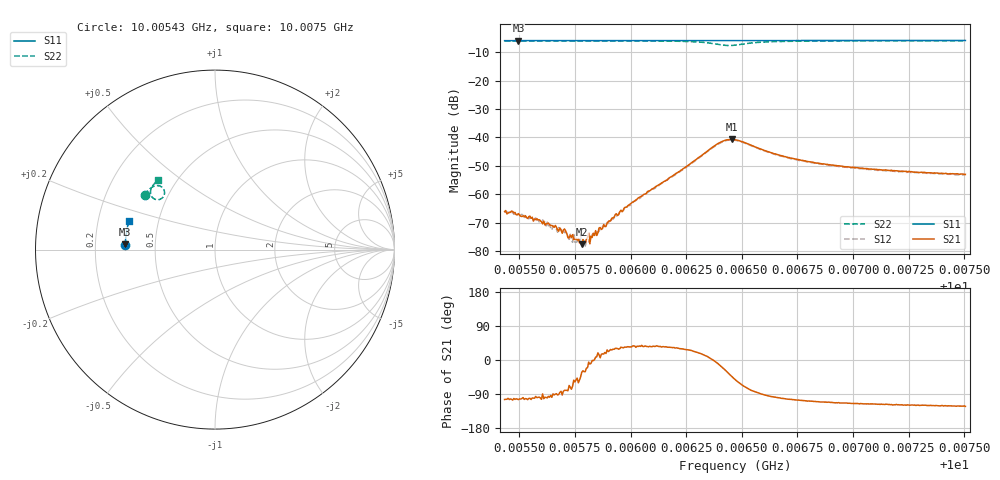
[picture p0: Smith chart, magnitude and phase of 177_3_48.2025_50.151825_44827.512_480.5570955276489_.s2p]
#  HZ  S  RI  R  50.00
! Rohde & Schwarz Vector Network Analyzer
! Rohde-Schwarz,ZNB20-2Port,1311601062101988,3.16
! Created: UTC 3/20/2024, 11:43:59 AM
! freq[Hz]  re:S11  im:S11  re:S21  im:S21  re:S12  im:S12  re:S22  im:S22
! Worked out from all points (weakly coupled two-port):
!   401 points, 10.00543 GHz to 10.0075 GHz, reference 50 ohm
!   highest |S21| = -40.66 dB at 10.00645 GHz (marker M1); lowest = -77.5 dB at 10.00578 GHz (marker M2)
!   lowest |S11| = -6.0 dB at 10.0055 GHz (marker M3), VSWR 3.00, Z = 16.7 + j1.33 ohm
!   |S11| at or under -10 dB: nowhere
!   |S22| runs from -7.7 to -6.0 dB; largest |S21 - S12| = 0.00055
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1.0005434e10  -0.4998 0.0258  -0.000123 -0.000487  -9.39e-05 -0.00048  -0.3927 0.3035
1.000547e10  -0.4997 0.0282  -0.000135 -0.000485  -0.000107 -0.000476  -0.3911 0.3058
1.0005496e10  -0.4995 0.0299  -0.000115 -0.000447  -8.15e-05 -0.000449  -0.39 0.3072
1.0005584e10  -0.4996 0.0356  -5.38e-05 -0.000353  -1.92e-05 -0.000362  -0.3861 0.3125
1.0005605e10  -0.4995 0.0369  2.26e-06 -0.000305  -2.12e-05 -0.000359  -0.3851 0.3138
1.0005657e10  -0.4994 0.0403  -8.93e-06 -0.000264  1.9e-05 -0.00027  -0.3827 0.317
1.0005688e10  -0.4991 0.0424  3.05e-05 -0.000232  1.11e-05 -0.000244  -0.381 0.3187
1.0005745e10  -0.4989 0.0461  9.72e-05 -0.00013  0.000112 -0.000164  -0.3783 0.3224
1.0005781e10  -0.4989 0.0484  0.000114 -7.09e-05  0.000107 -7.44e-05  -0.3762 0.3248
1.0005791e10  -0.4987 0.0491  0.000119 -7.07e-05  0.000127 -8.39e-05  -0.3757 0.3254
1.0005807e10  -0.4987 0.0501  0.000167 -6.09e-05  0.000133 -6.29e-05  -0.3748 0.3265
1.0005827e10  -0.4986 0.0514  0.000175 -3.67e-06  0.000196 -1.32e-06  -0.3736 0.3277
1.0005833e10  -0.4986 0.0518  0.000207 -6.69e-06  0.000206 2.35e-05  -0.3735 0.328
1.0005983e10  -0.4977 0.0615  0.0005 0.00034  0.000477 0.000328  -0.3635 0.3382
1.0006128e10  -0.4968 0.0709  0.0012 0.000851  0.00113 0.000888  -0.3497 0.3486
1.0006392e10  -0.4939 0.0878  0.00768 -0.00123  0.00752 -0.00083  -0.2823 0.3269
1.0006454e10  -0.4931 0.0911  0.00677 -0.00632  0.00692 -0.00583  -0.2994 0.2836
1.0006469e10  -0.4932 0.092  0.00569 -0.00714  0.00597 -0.00667  -0.3106 0.2788
1.0006661e10  -0.4918 0.1042  -0.000802 -0.00494  -0.000556 -0.00488  -0.3594 0.3235
1.0006816e10  -0.4901 0.1143  -0.00119 -0.0035  -0.00102 -0.00345  -0.3527 0.3454
1.0007163e10  -0.4852 0.1361  -0.00121 -0.00234  -0.00111 -0.00236  -0.3342 0.3714
1.0007504e10  -0.4794 0.1573  -0.0012 -0.0019  -0.00105 -0.0019  -0.3163 0.3898
